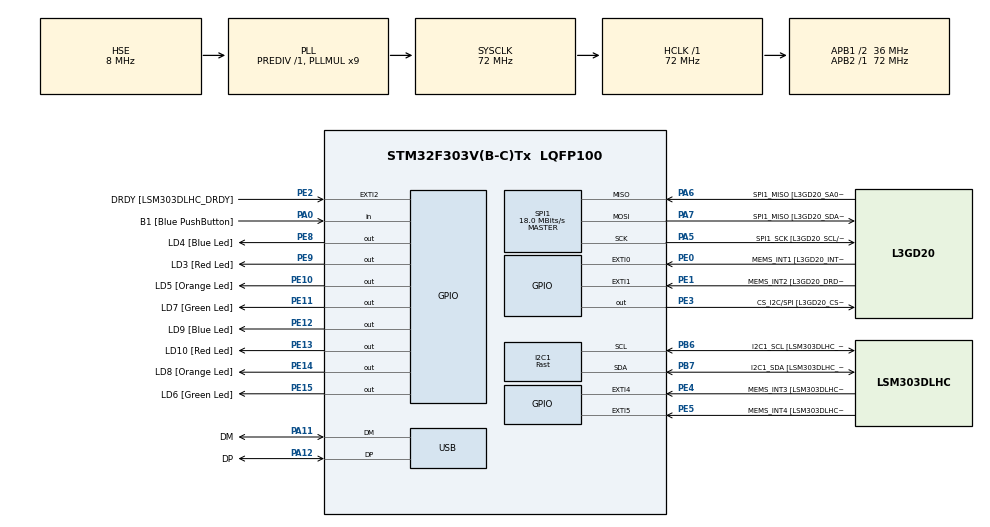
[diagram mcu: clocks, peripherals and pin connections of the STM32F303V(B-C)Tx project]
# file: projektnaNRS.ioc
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I2C1.I2C_Speed_Mode=I2C_Fast
I2C1.Timing=0x0000020B
I2C1.Timing-I2C=0x2000090E
Mcu.Family=STM32F3
Mcu.Name=STM32F303V(B-C)Tx
Mcu.Package=LQFP100
NVIC.PriorityGroup=NVIC_PRIORITYGROUP_0
NVIC.USB_LP_CAN_RX0_IRQn=true\:0\:0\:false\:false\:true\:false\:true
PA0.GPIO_Label=B1 [Blue PushButton]
PA0.Signal=GPIO_Input
PA11.GPIO_Label=DM
PA11.Mode=Device
PA11.Signal=USB_DM
PA12.GPIO_Label=DP
PA12.Mode=Device
PA12.Signal=USB_DP
PA13.GPIO_Label=SWDIO
PA13.Mode=Serial_Wire
PA13.Signal=SYS_JTMS-SWDIO
PA14.GPIO_Label=SWCLK
PA14.Mode=Serial_Wire
PA14.Signal=SYS_JTCK-SWCLK
PA5.GPIO_Label=SPI1_SCK [L3GD20_SCL/SPC]
PA5.Mode=Full_Duplex_Master
PA5.Signal=SPI1_SCK
PA6.GPIO_Label=SPI1_MISO [L3GD20_SA0/SDO]
PA6.Mode=Full_Duplex_Master
PA6.Signal=SPI1_MISO
PA7.GPIO_Label=SPI1_MISO [L3GD20_SDA/SDI/SDO]
PA7.Mode=Full_Duplex_Master
PA7.Signal=SPI1_MOSI
PB3.GPIO_Label=SWO
PB3.Signal=SYS_JTDO-TRACESWO
PB6.GPIO_Label=I2C1_SCL [LSM303DLHC_SCL]
PB6.GPIO_Pu=GPIO_PULLUP
PB6.Mode=I2C
PB6.Signal=I2C1_SCL
PB7.GPIO_Label=I2C1_SDA [LSM303DLHC_SDA]
PB7.GPIO_Pu=GPIO_PULLUP
PB7.Mode=I2C
PB7.Signal=I2C1_SDA
PC14-OSC32_IN.GPIO_Label=OSC32_IN
PC14-OSC32_IN.Signal=RCC_OSC32_IN
PC15-OSC32_OUT.GPIO_Label=OSC32_OUT
PC15-OSC32_OUT.Signal=RCC_OSC32_OUT
PE0.GPIO_Label=MEMS_INT1 [L3GD20_INT1]
PE0.GPIO_ModeDefaultEXTI=GPIO_MODE_EVT_RISING
PE0.Signal=GPXTI0
PE1.GPIO_Label=MEMS_INT2 [L3GD20_DRDY/INT2]
PE1.GPIO_ModeDefaultEXTI=GPIO_MODE_EVT_RISING
PE1.Signal=GPXTI1
PE10.GPIO_Label=LD5 [Orange Led]
PE10.Signal=GPIO_Output
PE11.GPIO_Label=LD7 [Green Led]
PE11.Signal=GPIO_Output
PE12.GPIO_Label=LD9 [Blue Led]
PE12.Signal=GPIO_Output
PE13.GPIO_Label=LD10 [Red Led]
PE13.Signal=GPIO_Output
PE14.GPIO_Label=LD8 [Orange Led]
PE14.Signal=GPIO_Output
PE15.GPIO_Label=LD6 [Green Led]
PE15.Signal=GPIO_Output
PE2.GPIO_Label=DRDY [LSM303DLHC_DRDY]
PE2.GPIO_ModeDefaultEXTI=GPIO_MODE_EVT_RISING
PE2.Signal=GPXTI2
PE3.GPIO_Label=CS_I2C/SPI [L3GD20_CS_I2C/SPI]
PE3.Signal=GPIO_Output
PE4.GPIO_Label=MEMS_INT3 [LSM303DLHC_INT1]
PE4.GPIO_ModeDefaultEXTI=GPIO_MODE_EVT_RISING
PE4.Signal=GPXTI4
PE5.GPIO_Label=MEMS_INT4 [LSM303DLHC_INT2]
PE5.GPIO_ModeDefaultEXTI=GPIO_MODE_EVT_RISING
PE5.Signal=GPXTI5
PE8.GPIO_Label=LD4 [Blue Led]
PE8.Signal=GPIO_Output
PE9.GPIO_Label=LD3 [Red Led]
PE9.Signal=GPIO_Output
PF0-OSC_IN.GPIO_Label=OSC_IN
PF0-OSC_IN.Mode=HSE-External-Clock-Source
PF0-OSC_IN.Signal=RCC_OSC_IN
PF1-OSC_OUT.GPIO_Label=OSC_OUT
PF1-OSC_OUT.Signal=RCC_OSC_OUT
ProjectManager.HeapSize=0x200
ProjectManager.StackSize=0x400
ProjectManager.TargetToolchain=STM32CubeIDE
RCC.AHBFreq_Value=72000000
RCC.APB1CLKDivider=RCC_HCLK_DIV2
RCC.APB1Freq_Value=36000000
RCC.APB1TimFreq_Value=72000000
RCC.APB2Freq_Value=72000000
RCC.APB2TimFreq_Value=72000000
RCC.CortexFreq_Value=72000000
RCC.HCLKFreq_Value=72000000
RCC.HSE_VALUE=8000000
RCC.HSI_VALUE=8000000
RCC.LSE_VALUE=32768
RCC.PLLMUL=RCC_PLL_MUL9
RCC.PRESCALERUSB=RCC_USBCLKSOURCE_PLL_DIV1_5
RCC.SYSCLKFreq_VALUE=72000000
RCC.SYSCLKSourceVirtual=RCC_SYSCLKSOURCE_PLLCLK
RCC.USBFreq_Value=48000000
SPI1.BaudRatePrescaler=SPI_BAUDRATEPRESCALER_4
SPI1.BaudRatePrescaler-Full_Duplex_Master=SPI_BAUDRATEPRESCALER_2
SPI1.CalculateBaudRate=18.0 MBits/s
SPI1.CalculateBaudRate-Full_Duplex_Master=24.0 MBits/s
SPI1.Direction=SPI_DIRECTION_2LINES
SPI1.Mode=SPI_MODE_MASTER
SPI1.Mode-Full_Duplex_Master=SPI_MODE_MASTER
SPI1.VirtualType=VM_MASTER
TIM3.Prescaler=59999
USB_DEVICE.CLASS_NAME_FS=CDC
USB_DEVICE.MANUFACTURER_STRING=CPSystems
USB_DEVICE.PRODUCT_STRING_CDC_FS=projektnaNRS
USB_DEVICE.VirtualMode=Cdc
USB_DEVICE.VirtualModeFS=Cdc_FS
VP_TIM3_VS_ClockSourceINT.Mode=Internal
VP_USB_DEVICE_VS_USB_DEVICE_CDC_FS.Mode=CDC_FS
board=STM32F3DISCOVERY

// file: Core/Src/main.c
/* USER CODE BEGIN Header */
/**
  ******************************************************************************
  * @file           : main.c
  * @brief          : Main program body
  ******************************************************************************
  * @attention
  *
  * Copyright (c) 2022 STMicroelectronics.
  * All rights reserved.
  *
  * This software is licensed under terms that can be found in the LICENSE file
  * in the root directory of this software component.
  * If no LICENSE file comes with this software, it is provided AS-IS.
  *
  ******************************************************************************
  */
/* USER CODE END Header */
#include "main.h"
#include "usb_device.h"

I2C_HandleTypeDef hi2c1;

SPI_HandleTypeDef hspi1;

TIM_HandleTypeDef htim3;

void SystemClock_Config(void);
static void MX_GPIO_Init(void);
static void MX_I2C1_Init(void);
static void MX_SPI1_Init(void);
static void MX_TIM3_Init(void);
/* USER CODE BEGIN PFP */

uint8_t i2c1_pisiRegister(uint8_t, uint8_t, uint8_t);
void i2c1_beriRegistre(uint8_t, uint8_t, uint8_t*, uint8_t);
void initLSM303DLHC(void);

/* USER CODE END PFP */

/* USER CODE BEGIN 0 */

uint8_t i2c1_pisiRegister(uint8_t naprava, uint8_t reg, uint8_t podatek)
{
  naprava <<= 1;
  return HAL_I2C_Mem_Write(&hi2c1, naprava, reg, I2C_MEMADD_SIZE_8BIT, &podatek, 1, 10);
}

void i2c1_beriRegistre(uint8_t naprava, uint8_t reg, uint8_t* podatek, uint8_t dolzina)
{
  if ((dolzina>1)&&(naprava==0x19))  // ce je naprava 0x19 moramo postaviti ta bit, ce zelimo brati vec zlogov
    reg |= 0x80;
  naprava <<= 1;
  HAL_I2C_Mem_Read(&hi2c1, naprava, reg, I2C_MEMADD_SIZE_8BIT, podatek, dolzina, dolzina);
}

void initLSM303DLHC()
{
  HAL_Delay(10);

  // Za potrebe testa, moramo testni napravi sporociti kateri senzor imamo
  #define OLD_SENSOR 0x73 // Odkomentiramo za LSM303DLHC / stari senzor
  //#define NEW_SENSOR 0x6E // Odkomentiramo za LSM303AGR / novi senzor

  #if defined(OLD_SENSOR) && !defined(NEW_SENSOR)
  i2c1_pisiRegister(0x1e, 0x4F, OLD_SENSOR); // Povemo testni napravi, da imamo stari senzor
  #elif !defined(OLD_SENSOR) && defined(NEW_SENSOR)
  i2c1_pisiRegister(0x1e, 0x4F, NEW_SENSOR); // Povemo testni napravi, da imamo novi senzor
  #else
  for(;;); // V primeru napake, pocakamo tukaj
  #endif
  HAL_Delay(100);

  // inicializiraj pospeskometer
  i2c1_pisiRegister(0x19, 0x20, 0x27);  // zbudi pospeskometer in omogoci osi
  i2c1_pisiRegister(0x19, 0x23, 0x88);  // nastavi posodobitev samo ko se prebere vrednost ter visoko locljivost
  i2c1_pisiRegister(0x19, 0x20, 0x47);	//odzivnost
  i2c1_pisiRegister(0x19, 0x23, 0x10);	//obcutljivost
}

/* USER CODE END 0 */

int main(void)
{

  /* MCU Configuration--------------------------------------------------------*/

  /* Reset of all peripherals, Initializes the Flash interface and the Systick. */
  HAL_Init();

  /* Configure the system clock */
  SystemClock_Config();

  /* Initialize all configured peripherals */
  MX_GPIO_Init();
  MX_I2C1_Init();
  MX_SPI1_Init();
  MX_TIM3_Init();
  MX_USB_DEVICE_Init();
  /* USER CODE BEGIN 2 */

  float getAxis(float X, float Y, float Z) {
      X = abs(X);
      Y = abs(Y);
      Z = abs(Z);
      if (X > Y) {
          if (X > Z){
        	  return 0;
          }
      }
      else if (Y > Z){
    	  return 1;
      }
      else{
    	  return 2;
      }

      return -1;
  }

  // zazenemo casovnik ter cakamo do preliva vrednosti
  HAL_TIM_Base_Start(&htim3);

  // pocistimo zastavico za preliv vrednosti
  __HAL_TIM_CLEAR_FLAG(&htim3, TIM_FLAG_UPDATE);

  __HAL_I2C_ENABLE(&hi2c1);

  initLSM303DLHC(); //zazeni init posp.

  int16_t meritev[6];
  meritev[0] = 0xaaab;// glava za zaznamek zacetek paketa

  int8_t cordXLow;
  int8_t cordXHigh;
  float cordX;

  int8_t cordYLow;
  int8_t cordYHigh;
  float cordY;

  int8_t cordZLow;
  int8_t cordZHigh;
  float cordZ;

  int bumpsX = 0;
  int bumpsY = 0;
  int bumpsZ = 0;
  int bumps = 0;
  int counter = 0;
  int paket = -1;
  float currentAccel = 0.0;
  float lastAccel = 0.0;
  int secondCounter = 0;
  int axis = 0;
  int once = 0;
  int once2 = 0;
  int once3 = 0;

  uint8_t buff[256];

  /* USER CODE END 2 */

  /* Infinite loop */
  /* USER CODE BEGIN WHILE */
  while (1)
  {
	  HAL_Delay(10);
	  if(HAL_GPIO_ReadPin(GPIOA, GPIO_PIN_0)){
		  counter++;
		 if(counter > 4){
			 counter = 0;
			 once = 0;
			 once2 = 0;
			 once3 = 0;
			 bumps = 0;
			 bumpsX = 0;
			 bumpsY = 0;
			 bumpsZ = 0;
			 paket = -1;
			    HAL_GPIO_WritePin(GPIOE, GPIO_PIN_15, GPIO_PIN_RESET);
			    HAL_GPIO_WritePin(GPIOE, GPIO_PIN_14, GPIO_PIN_RESET);
			    HAL_GPIO_WritePin(GPIOE, GPIO_PIN_13, GPIO_PIN_RESET);
			    HAL_GPIO_WritePin(GPIOE, GPIO_PIN_12, GPIO_PIN_RESET);
			    HAL_GPIO_WritePin(GPIOE, GPIO_PIN_11, GPIO_PIN_RESET);
				HAL_GPIO_WritePin(GPIOE, GPIO_PIN_8, GPIO_PIN_RESET);
		 }
	  }

		/*
		//do preliva vrednosti
		while (!__HAL_TIM_GET_FLAG(&htim3, TIM_FLAG_UPDATE));
		//pocistimo zastavico
		__HAL_TIM_CLEAR_FLAG(&htim3, TIM_FLAG_UPDATE);
		//stanje LED lucke
		HAL_GPIO_TogglePin(GPIOE, GPIO_PIN_10);
		*/

		if(counter == 1){	//ZBIRANJE PODATKOV

		    HAL_GPIO_WritePin(GPIOE, GPIO_PIN_12, GPIO_PIN_SET);

			//PAKET
			paket = paket + 1;
			meritev[1] = paket;

			//X-os
			i2c1_beriRegistre(0x19, 0x29, (uint8_t *)&cordXHigh, 1);
			i2c1_beriRegistre(0x19, 0x28, (uint8_t *)&cordXLow, 1);
			meritev[1] = (cordXHigh << 8) | (cordXLow & 0xff);
			cordX = (meritev[1] >> 3) / 1000.0f;

			//Y-os
			i2c1_beriRegistre(0x19, 0x2B, (uint8_t *)&cordYHigh, 1);
			i2c1_beriRegistre(0x19, 0x2A, (uint8_t *)&cordYLow, 1);
			meritev[2] = (cordYHigh << 8) | (cordYLow & 0xff);
			cordY = (meritev[2] >> 3) / 1000.0f;

			//Z-os
			i2c1_beriRegistre(0x19, 0x2D, (uint8_t *)&cordZHigh, 1);
			i2c1_beriRegistre(0x19, 0x2C, (uint8_t *)&cordZLow, 1);
			meritev[3] = (cordZHigh << 8) | (cordZLow & 0xff);
			cordZ = (meritev[3] >> 3) / 1000.0f;

			lastAccel = currentAccel;
			currentAccel = sqrt(pow(cordX, 2) + pow(cordY, 2) + pow(cordZ, 2));
			axis = getAxis(cordX, cordY, cordZ);

			if (axis == 0) {
				if ((lastAccel - currentAccel) > 0.50) {
					bumpsX++;
				}
			}
			else if (axis == 1) {
				if ((lastAccel - currentAccel) > 0.50) {
					bumpsY++;
				}
			}
			else if (axis == 2) {
				if ((lastAccel - currentAccel) > 0.50) {
					bumpsZ++;
				}
			}

			int len = sprintf(buff, "{Pospeskometer[%i]-> \"X\":[%.3f],  \"Y\":[%.3f], \"Z\":[%.3f]}\n\r", paket, cordX, cordY, cordZ);
			CDC_Transmit_FS((uint8_t*)&buff, len);

		}

		else if(counter == 2){
			if(once2 < 1){
			    HAL_GPIO_WritePin(GPIOE, GPIO_PIN_13, GPIO_PIN_SET);
				int len = sprintf(buff, "{\"Bumps X\":[%i],  \"Bumps Y\":[%i], \"Bumps Z\":[%i]}\n\r}", bumpsX, bumpsY, bumpsZ);
				CDC_Transmit_FS((uint8_t*)&buff, len);
				once2++;
			}
		}

		else if(counter == 3){
		    HAL_GPIO_WritePin(GPIOE, GPIO_PIN_14, GPIO_PIN_SET);

			if(once < 1){
				int len = sprintf(buff, "{STOP}\n\r");
				CDC_Transmit_FS((uint8_t*)&buff, len);
				once++;
			}

		}

		else if(counter == 4){
			HAL_GPIO_WritePin(GPIOE, GPIO_PIN_15, GPIO_PIN_SET);
			//if(once3 < 1){
				bumps = bumpsX + bumpsY + bumpsZ;
				for(int i = 0; i < 256; i++){
					buff[i] = 0;
				}
				int len = sprintf(buff, "%i\n\r",bumps);
				CDC_Transmit_FS((uint8_t*)&buff, len);
				once3++;
			//}

		}

		while(HAL_GPIO_ReadPin(GPIOA, GPIO_PIN_0)){};

    /* USER CODE END WHILE */

  }
}

void SystemClock_Config(void)
{
  RCC_OscInitTypeDef RCC_OscInitStruct = {0};
  RCC_ClkInitTypeDef RCC_ClkInitStruct = {0};
  RCC_PeriphCLKInitTypeDef PeriphClkInit = {0};

  /** Initializes the RCC Oscillators according to the specified parameters
  * in the RCC_OscInitTypeDef structure.
  */
  RCC_OscInitStruct.OscillatorType = RCC_OSCILLATORTYPE_HSI|RCC_OSCILLATORTYPE_HSE;
  RCC_OscInitStruct.HSEState = RCC_HSE_BYPASS;
  RCC_OscInitStruct.HSEPredivValue = RCC_HSE_PREDIV_DIV1;
  RCC_OscInitStruct.HSIState = RCC_HSI_ON;
  RCC_OscInitStruct.HSICalibrationValue = RCC_HSICALIBRATION_DEFAULT;
  RCC_OscInitStruct.PLL.PLLState = RCC_PLL_ON;
  RCC_OscInitStruct.PLL.PLLSource = RCC_PLLSOURCE_HSE;
  RCC_OscInitStruct.PLL.PLLMUL = RCC_PLL_MUL9;
  if (HAL_RCC_OscConfig(&RCC_OscInitStruct) != HAL_OK)
  {
    Error_Handler();
  }
  /** Initializes the CPU, AHB and APB buses clocks
  */
  RCC_ClkInitStruct.ClockType = RCC_CLOCKTYPE_HCLK|RCC_CLOCKTYPE_SYSCLK
                              |RCC_CLOCKTYPE_PCLK1|RCC_CLOCKTYPE_PCLK2;
  RCC_ClkInitStruct.SYSCLKSource = RCC_SYSCLKSOURCE_PLLCLK;
  RCC_ClkInitStruct.AHBCLKDivider = RCC_SYSCLK_DIV1;
  RCC_ClkInitStruct.APB1CLKDivider = RCC_HCLK_DIV2;
  RCC_ClkInitStruct.APB2CLKDivider = RCC_HCLK_DIV1;

  if (HAL_RCC_ClockConfig(&RCC_ClkInitStruct, FLASH_LATENCY_2) != HAL_OK)
  {
    Error_Handler();
  }
  PeriphClkInit.PeriphClockSelection = RCC_PERIPHCLK_USB|RCC_PERIPHCLK_I2C1;
  PeriphClkInit.I2c1ClockSelection = RCC_I2C1CLKSOURCE_HSI;
  PeriphClkInit.USBClockSelection = RCC_USBCLKSOURCE_PLL_DIV1_5;
  if (HAL_RCCEx_PeriphCLKConfig(&PeriphClkInit) != HAL_OK)
  {
    Error_Handler();
  }
}

static void MX_I2C1_Init(void)
{

  hi2c1.Instance = I2C1;
  hi2c1.Init.Timing = 0x0000020B;
  hi2c1.Init.OwnAddress1 = 0;
  hi2c1.Init.AddressingMode = I2C_ADDRESSINGMODE_7BIT;
  hi2c1.Init.DualAddressMode = I2C_DUALADDRESS_DISABLE;
  hi2c1.Init.OwnAddress2 = 0;
  hi2c1.Init.OwnAddress2Masks = I2C_OA2_NOMASK;
  hi2c1.Init.GeneralCallMode = I2C_GENERALCALL_DISABLE;
  hi2c1.Init.NoStretchMode = I2C_NOSTRETCH_DISABLE;
  if (HAL_I2C_Init(&hi2c1) != HAL_OK)
  {
    Error_Handler();
  }
  /** Configure Analogue filter
  */
  if (HAL_I2CEx_ConfigAnalogFilter(&hi2c1, I2C_ANALOGFILTER_ENABLE) != HAL_OK)
  {
    Error_Handler();
  }
  /** Configure Digital filter
  */
  if (HAL_I2CEx_ConfigDigitalFilter(&hi2c1, 0) != HAL_OK)
  {
    Error_Handler();
  }

}

static void MX_SPI1_Init(void)
{

  /* SPI1 parameter configuration*/
  hspi1.Instance = SPI1;
  hspi1.Init.Mode = SPI_MODE_MASTER;
  hspi1.Init.Direction = SPI_DIRECTION_2LINES;
  hspi1.Init.DataSize = SPI_DATASIZE_4BIT;
  hspi1.Init.CLKPolarity = SPI_POLARITY_LOW;
  hspi1.Init.CLKPhase = SPI_PHASE_1EDGE;
  hspi1.Init.NSS = SPI_NSS_SOFT;
  hspi1.Init.BaudRatePrescaler = SPI_BAUDRATEPRESCALER_4;
  hspi1.Init.FirstBit = SPI_FIRSTBIT_MSB;
  hspi1.Init.TIMode = SPI_TIMODE_DISABLE;
  hspi1.Init.CRCCalculation = SPI_CRCCALCULATION_DISABLE;
  hspi1.Init.CRCPolynomial = 7;
  hspi1.Init.CRCLength = SPI_CRC_LENGTH_DATASIZE;
  hspi1.Init.NSSPMode = SPI_NSS_PULSE_ENABLE;
  if (HAL_SPI_Init(&hspi1) != HAL_OK)
  {
    Error_Handler();
  }

}

static void MX_TIM3_Init(void)
{

  TIM_ClockConfigTypeDef sClockSourceConfig = {0};
  TIM_MasterConfigTypeDef sMasterConfig = {0};

  htim3.Instance = TIM3;
  htim3.Init.Prescaler = 59999;
  htim3.Init.CounterMode = TIM_COUNTERMODE_UP;
  htim3.Init.Period = 65535;
  htim3.Init.ClockDivision = TIM_CLOCKDIVISION_DIV1;
  htim3.Init.AutoReloadPreload = TIM_AUTORELOAD_PRELOAD_DISABLE;
  if (HAL_TIM_Base_Init(&htim3) != HAL_OK)
  {
    Error_Handler();
  }
  sClockSourceConfig.ClockSource = TIM_CLOCKSOURCE_INTERNAL;
  if (HAL_TIM_ConfigClockSource(&htim3, &sClockSourceConfig) != HAL_OK)
  {
    Error_Handler();
  }
  sMasterConfig.MasterOutputTrigger = TIM_TRGO_RESET;
  sMasterConfig.MasterSlaveMode = TIM_MASTERSLAVEMODE_DISABLE;
  if (HAL_TIMEx_MasterConfigSynchronization(&htim3, &sMasterConfig) != HAL_OK)
  {
    Error_Handler();
  }

}

static void MX_GPIO_Init(void)
{
  GPIO_InitTypeDef GPIO_InitStruct = {0};

  /* GPIO Ports Clock Enable */
  __HAL_RCC_GPIOE_CLK_ENABLE();
  __HAL_RCC_GPIOC_CLK_ENABLE();
  __HAL_RCC_GPIOF_CLK_ENABLE();
  __HAL_RCC_GPIOA_CLK_ENABLE();
  __HAL_RCC_GPIOB_CLK_ENABLE();

  /*Configure GPIO pin Output Level */
  HAL_GPIO_WritePin(GPIOE, CS_I2C_SPI_Pin|LD4_Pin|LD3_Pin|LD5_Pin
                          |LD7_Pin|LD9_Pin|LD10_Pin|LD8_Pin
                          |LD6_Pin, GPIO_PIN_RESET);

  /*Configure GPIO pins : DRDY_Pin MEMS_INT3_Pin MEMS_INT4_Pin MEMS_INT1_Pin
                           MEMS_INT2_Pin */
  GPIO_InitStruct.Pin = DRDY_Pin|MEMS_INT3_Pin|MEMS_INT4_Pin|MEMS_INT1_Pin
                          |MEMS_INT2_Pin;
  GPIO_InitStruct.Mode = GPIO_MODE_EVT_RISING;
  GPIO_InitStruct.Pull = GPIO_NOPULL;
  HAL_GPIO_Init(GPIOE, &GPIO_InitStruct);

  /*Configure GPIO pins : CS_I2C_SPI_Pin LD4_Pin LD3_Pin LD5_Pin
                           LD7_Pin LD9_Pin LD10_Pin LD8_Pin
                           LD6_Pin */
  GPIO_InitStruct.Pin = CS_I2C_SPI_Pin|LD4_Pin|LD3_Pin|LD5_Pin
                          |LD7_Pin|LD9_Pin|LD10_Pin|LD8_Pin
                          |LD6_Pin;
  GPIO_InitStruct.Mode = GPIO_MODE_OUTPUT_PP;
  GPIO_InitStruct.Pull = GPIO_NOPULL;
  GPIO_InitStruct.Speed = GPIO_SPEED_FREQ_LOW;
  HAL_GPIO_Init(GPIOE, &GPIO_InitStruct);

  /*Configure GPIO pin : B1_Pin */
  GPIO_InitStruct.Pin = B1_Pin;
  GPIO_InitStruct.Mode = GPIO_MODE_INPUT;
  GPIO_InitStruct.Pull = GPIO_NOPULL;
  HAL_GPIO_Init(B1_GPIO_Port, &GPIO_InitStruct);

}

void Error_Handler(void)
{
  __disable_irq();
  while (1)
  {
  }
}
